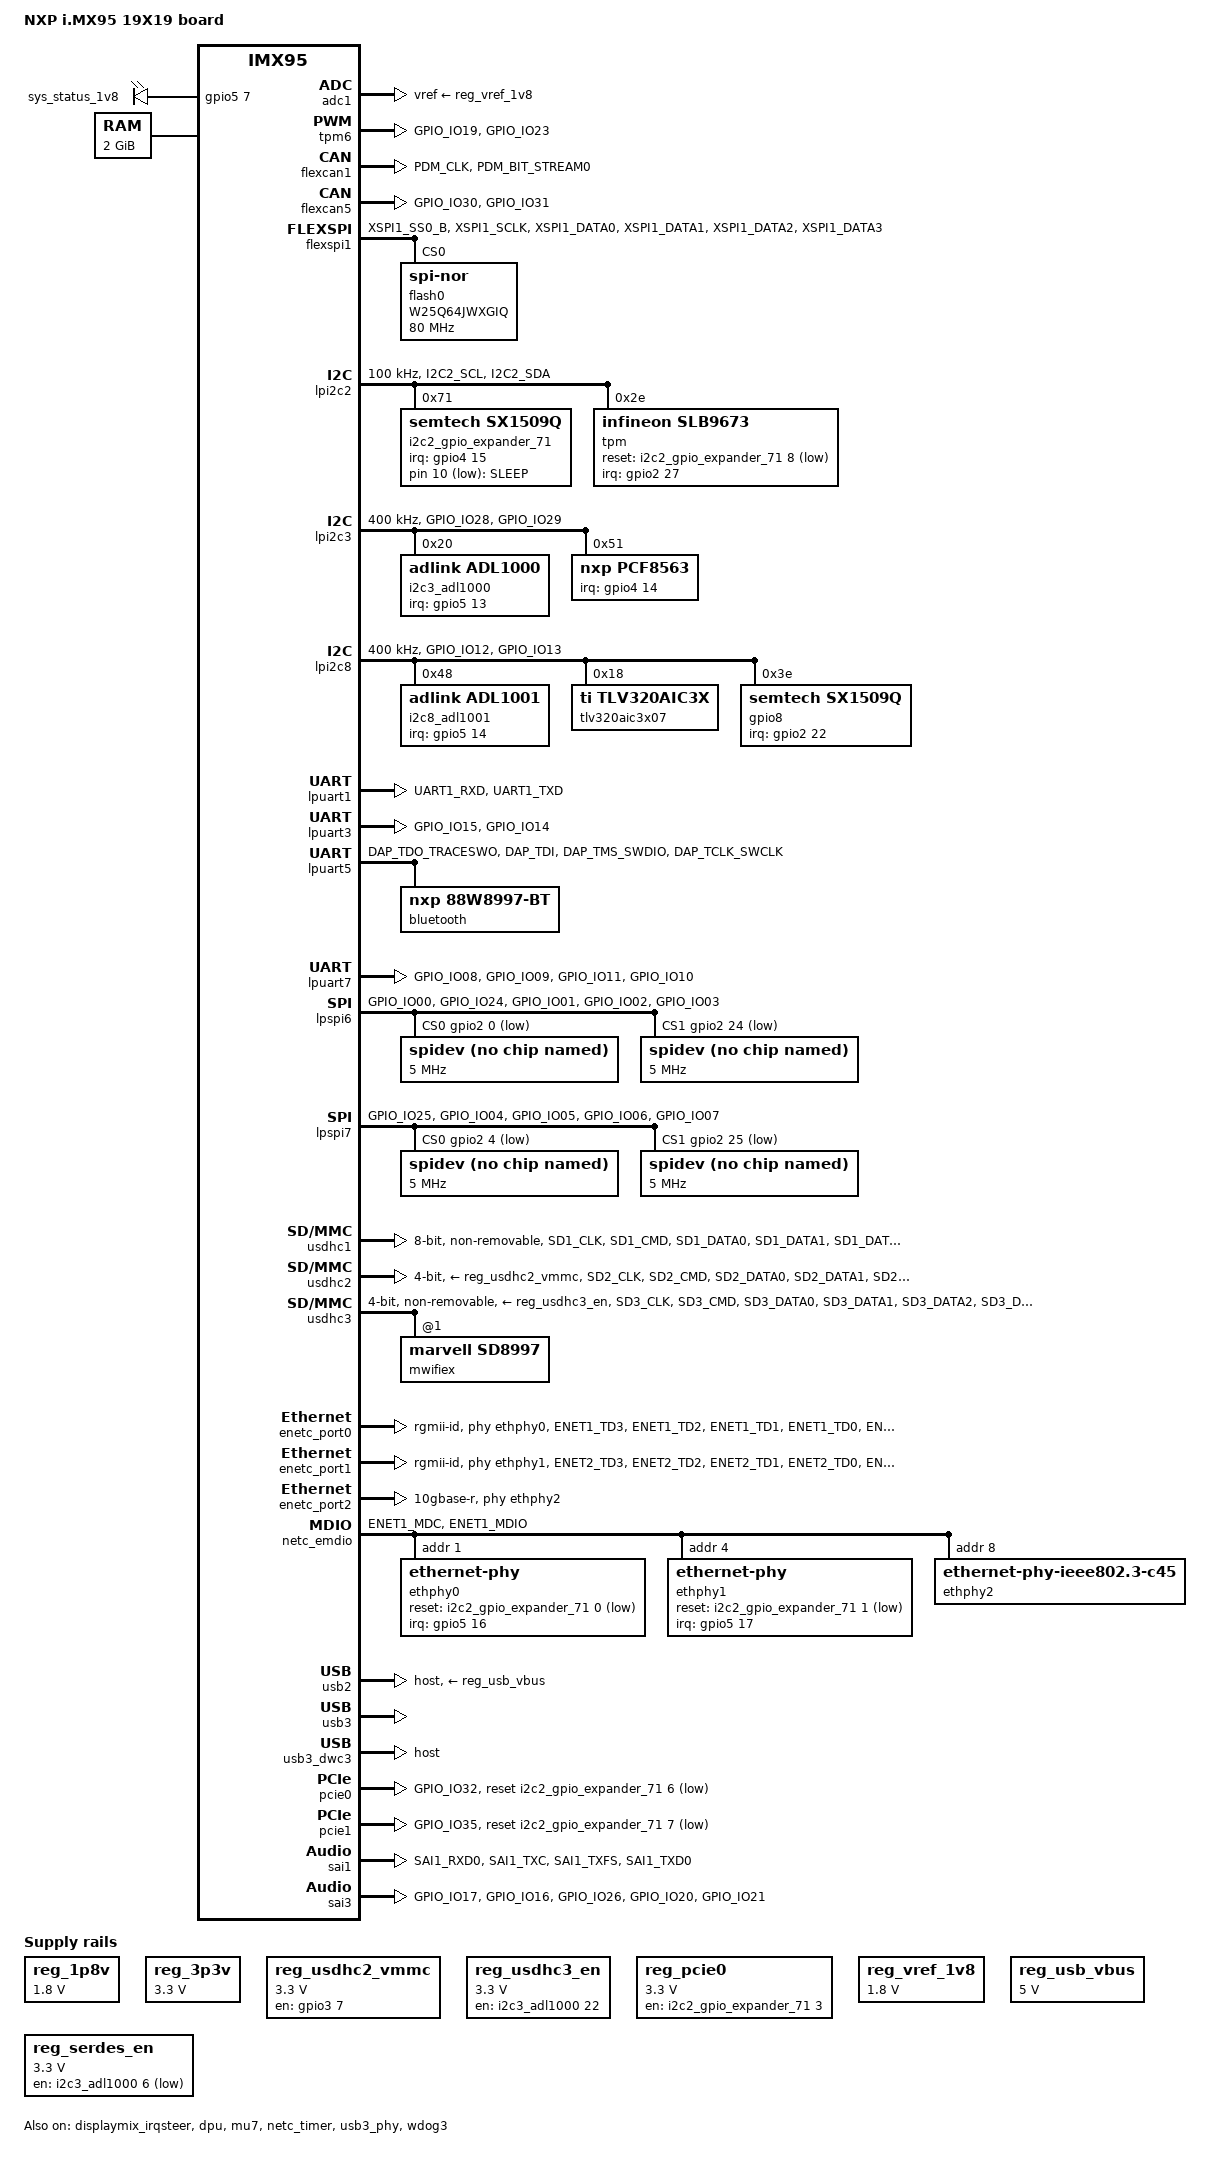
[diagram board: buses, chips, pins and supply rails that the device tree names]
// SPDX-License-Identifier: (GPL-2.0+ OR MIT)
/*
 * Copyright 2023 NXP
 */

/dts-v1/;

#include <dt-bindings/phy/phy-imx8-pcie.h>
#include <dt-bindings/pwm/pwm.h>
#include <dt-bindings/usb/pd.h>
#include "imx95.dtsi"

#define FALLING_EDGE		BIT(0)
#define RISING_EDGE		BIT(1)

#define BRD_SM_CTRL_SD3_WAKE		0x8000	/*!< PCAL6408A-0 */
#define BRD_SM_CTRL_PCIE1_WAKE		0x8001	/*!< PCAL6408A-4 */
#define BRD_SM_CTRL_BT_WAKE		0x8002	/*!< PCAL6408A-5 */
#define BRD_SM_CTRL_PCIE2_WAKE		0x8003	/*!< PCAL6408A-6 */
#define BRD_SM_CTRL_BUTTON		0x8004	/*!< PCAL6408A-7 */

/ {
	model = "NXP i.MX95 19X19 board";
	compatible = "fsl,imx95-19x19-evk", "fsl,imx95";

	aliases {
		ethernet0 = &enetc_port0;
		ethernet1 = &enetc_port1;
	};

	chosen {
		stdout-path = &lpuart1;
		#address-cells = <2>;
		#size-cells = <2>;
		/* will be updated by U-boot when booting Xen */
		module@0 {
			bootargs = "earlycon=xen console=hvc0 loglevel=8 root=/dev/mmcblk1p2 rw rootwait";
			compatible = "xen,linux-zimage", "xen,multiboot-module";
			reg = <0x00000000 0x9e000000 0x00000000 0x2000000>;
		};
	};

	gpio-keys {
		compatible = "gpio-keys";
		pinctrl-names = "default";

		key_sleep {
			label = "SLEEP";
			linux,code = <KEY_SLEEP>;
			gpios = <&i2c2_gpio_expander_71 10 GPIO_ACTIVE_LOW>;
		};

	};

	leds {
		compatible = "gpio-leds";
		pinctrl-names = "default";
		pinctrl-0 = <&pinctrl_leds>;

		led-1 {
			label = "sys_status_1v8";
			default-state = "on";
			gpios = <&gpio5 7 GPIO_ACTIVE_HIGH>;
		};

	};

	/*
	fan0: pwm-fan {
		compatible = "pwm-fan";
		cooling-min-state = <0>;
		cooling-max-state = <3>;
		#cooling-cells = <2>;
		pwms = <&tpm5 1 4000000 PWM_POLARITY_INVERTED>;
		cooling-levels = <64 128 192 255>;
	};
*/
	memory@80000000 {
		device_type = "memory";
		reg = <0x0 0x80000000 0 0x80000000>;
	};

	reserved-memory {
		#address-cells = <2>;
		#size-cells = <2>;
		ranges;

		linux_cma: linux,cma {
			compatible = "shared-dma-pool";
			reusable;
			size = <0 0x3c000000>;
			alloc-ranges = <0 0x80000000 0 0x7F000000>;
			linux,cma-default;
		};

		vpu_boot: vpu_boot@a0000000 {
			reg = <0 0xa0000000 0 0x100000>;
			no-map;
		};

		vdev0vring0: vdev0vring0@88000000 {
			reg = <0 0x88000000 0 0x8000>;
			no-map;
		};

		vdev0vring1: vdev0vring1@88008000 {
			reg = <0 0x88008000 0 0x8000>;
			no-map;
		};

		vdev1vring0: vdev1vring0@88010000 {
			reg = <0 0x88010000 0 0x8000>;
			no-map;
		};

		vdev1vring1: vdev1vring1@88018000 {
			reg = <0 0x88018000 0 0x8000>;
			no-map;
		};

		rsc_table: rsc-table@88220000 {
			reg = <0 0x88220000 0 0x1000>;
			no-map;
		};

		vdevbuffer: vdevbuffer@88020000 {
			compatible = "shared-dma-pool";
			reg = <0 0x88020000 0 0x100000>;
			no-map;
		};
	};

	reg_1p8v: regulator-1p8v {
		compatible = "regulator-fixed";
		regulator-max-microvolt = <1800000>;
		regulator-min-microvolt = <1800000>;
		regulator-name = "+V1.8_SW";
	};

	reg_3p3v: regulator-3p3v {
		compatible = "regulator-fixed";
		regulator-max-microvolt = <3300000>;
		regulator-min-microvolt = <3300000>;
		regulator-name = "+V3.3_SW";
	};

	reg_usdhc2_vmmc: regulator-usdhc2 {
		compatible = "regulator-fixed";
		pinctrl-names = "default";
		pinctrl-0 = <&pinctrl_reg_usdhc2_vmmc>;
		regulator-name = "VDD_SD2_3V3";
		regulator-min-microvolt = <3300000>;
		regulator-max-microvolt = <3300000>;
		gpio = <&gpio3 7 GPIO_ACTIVE_HIGH>;
		off-on-delay-us = <12000>;
		enable-active-high;
	};

	reg_usdhc3_en: regulator-usdhc3-en {
		compatible = "regulator-fixed";
		regulator-name = "usdhc3-en";
		regulator-min-microvolt = <3300000>;
		regulator-max-microvolt = <3300000>;
		gpio = <&i2c3_adl1000 22 GPIO_ACTIVE_HIGH>;
		enable-active-high;
	};

	reg_pcie0: regulator-pcie {
		compatible = "regulator-fixed";
		regulator-name = "PCIE_WLAN_EN";
		regulator-min-microvolt = <3300000>;
		regulator-max-microvolt = <3300000>;
		gpio = <&i2c2_gpio_expander_71 3 GPIO_ACTIVE_HIGH>; //RC210_EN_3V
		enable-active-high;
		regulator-always-on;
	};

	reg_vref_1v8: regulator-adc-vref {
		compatible = "regulator-fixed";
		regulator-name = "vref_1v8";
		regulator-min-microvolt = <1800000>;
		regulator-max-microvolt = <1800000>;
	};

	reg_usb_vbus: regulator-vbus {
		compatible = "regulator-fixed";
		regulator-name = "USB_VBUS";
		regulator-min-microvolt = <5000000>;
		regulator-max-microvolt = <5000000>;
		/*
		gpio = <&i2c7_pcal6524 3 GPIO_ACTIVE_HIGH>;
		enable-active-high;
		regulator-always-on;
		*/
	};

	reg_serdes_en: regulator-mac-en {
		compatible = "regulator-fixed";
		regulator-name = "mac-en";
		regulator-min-microvolt = <3300000>;
		regulator-max-microvolt = <3300000>;
		//vin-supply = <&reg_serdes_stby>;
		gpio = <&i2c3_adl1000 6 GPIO_ACTIVE_HIGH>;//ETH_CLK_EN_1V8 
	};

	cm7: imx95-cm7 {
		compatible = "fsl,imx95-cm7";
		mbox-names = "tx", "rx", "rxdb";
		mboxes = <&mu7 0 1
			  &mu7 1 1
			  &mu7 3 1>;
		memory-region = <&vdevbuffer>, <&vdev0vring0>, <&vdev0vring1>,
				<&vdev1vring0>, <&vdev1vring1>, <&rsc_table>;
		fsl,startup-delay-ms = <50>;
		status = "okay";
	};

	/* SMARC BB CN1701 */
	sound-tlv320aic3x {
		compatible = "simple-audio-card";
		simple-audio-card,name = "tlv320aic3x";

		simple-audio-card,widgets =
			"Microphone", "Microphone Jack",
			"Headphone", "Headphone Jack";
		simple-audio-card,routing =
			"MIC3L", "Microphone Jack",
			"MIC3R", "Microphone Jack",
			"Headphone Jack", "HPLOUT",
			"Headphone Jack", "HPROUT";

		simple-audio-card,format = "i2s";
		simple-audio-card,bitclock-master = <&sound_master>;
		simple-audio-card,frame-master = <&sound_master>;

		simple-audio-card,cpu {
			sound-dai = <&sai3>;
		};

		sound_master: simple-audio-card,codec {
			sound-dai = <&tlv320aic3x07>;
		};
	};

};

&adc1 {
	vref-supply = <&reg_vref_1v8>;
	status = "okay";
};

&displaymix_irqsteer {
	status = "okay";
};

&dpu {
	status = "okay";
};

/*
&tpm5 {
	pinctrl-names = "default";
	pinctrl-0 = <&pinctrl_tpm5>;
	pwm-rst;
	status = "okay";
};
*/
&tpm6 {
	pinctrl-names = "default";
	pinctrl-0 = <&pinctrl_tpm6>;
	pwm-rst;
	status = "okay";
};

/* pin conflict with PDM */
&flexcan1 {
	pinctrl-names = "default";
	pinctrl-0 = <&pinctrl_flexcan1>;
	/*xceiver-supply = <&reg_can1_stby>;*/
	status = "okay";
};

&flexcan5 {
	pinctrl-names = "default";
	pinctrl-0 = <&pinctrl_flexcan5>;
	status = "okay";
};

&flexspi1 {
	pinctrl-names = "default", "sleep";
	pinctrl-0 = <&pinctrl_flexspi1>;
	pinctrl-1 = <&pinctrl_flexspi1>;
	status = "okay";

	/*U2200 W25Q64JWXGIQ*/
	flash0: W25Q64JWXGIQ@0 {
		reg = <0>;
		#address-cells = <1>;
		#size-cells = <1>;
		compatible = "jedec,spi-nor";
		spi-max-frequency = <80000000>;
		spi-tx-bus-width = <4>;
		spi-rx-bus-width = <4>;
	};
};

&lpi2c2 {
	#address-cells = <1>;
	#size-cells = <0>;
	clock-frequency = <100000>;
	pinctrl-names = "default", "sleep";
	pinctrl-0 = <&pinctrl_lpi2c2>;
	pinctrl-1 = <&pinctrl_lpi2c2>;
	status = "okay";

	/*U1000 SX1509BIULTRT_SEMTECH */
	i2c2_gpio_expander_71: i2c2_gpio_expander_71@71 {
		/* GPIO Expander  Mapping :
		 * - 0: ENET1_RST_B_3V			=>			U2001
		 * - 1: ENET2_RST_B_3V			=>			U2101			
		 * - 2: USB_HUB_RST#_3V			=>			U1800			
		 * - 3: RC210_EN_3V			=>			U1300 ,RC21008B001GND
		 * - 4: LT9611_RSTN_3V			=>			U1500
		 * - 5: HDMI_INT_3V				<= 			U1500
		 * - 6: PCIEA_RST#_3V			=>			SMARC P75	
		 * - 7: PCIEB_RST#_3V			=>			SMARC S76			
		 * - 8: TPM_RST_N_1V8			=> 			U2400
		 * - 9: LID#_1V8				<= R1005	SMARC S148
		 * - 10: SLEEP#_1V8				<= R1010	SMARC S149
		 * - 11: CHARGING#_1V8			<= R1007	SMARC S151
		 * - 12: CHARGER_PRSNT#_1V8		<= R1011	SMARC S152
		 * - 13: BATLOW#_1V8			<= R1014	SMARC S156
		 * - 14: TEST#_1V8				<= R1015	SMARC S157
		 * - 15: DSI0_TE_1V8    		<= R1087	SMARC S144
		 */
		#gpio-cells = <2>;
		#interrupt-cells = <2>;
		compatible = "semtech,sx1509q";
		reg = <0x71>;

		semtech,probe-reset;
		gpio-controller;
		interrupt-controller;
		interrupt-parent = <&gpio4>;
		interrupts = <15 IRQ_TYPE_LEVEL_LOW>;
		pinctrl-names = "default";
		pinctrl-0 = <&pinctrl_sx1509q>;

		status = "okay";
	};
	/* U2400 TPM - ST33HTPH2X32AHD5_ST */
	st33tphf2xi2c@2e {
		#gpio-cells = <2>;
		#interrupt-cells = <2>;
		//compatible = "st,st33htpm-i2c";
		compatible = "infineon,slb9673";
		reg = <0x2e>;

		label = "tpm";
		pinctrl-names = "default";
		pinctrl-0 = <&pinctrl_i2c2_tpm>;
		interrupt-parent = <&gpio2>;
		interrupts = <27 IRQ_TYPE_LEVEL_LOW>;
		reset-gpio = <&i2c2_gpio_expander_71 8 GPIO_ACTIVE_LOW>;
		status = "okay";
	};
};

&lpi2c3 {
	#address-cells = <1>;
	#size-cells = <0>;
	clock-frequency = <400000>;
	pinctrl-names = "default", "sleep";
	pinctrl-0 = <&pinctrl_lpi2c3>;
	pinctrl-1 = <&pinctrl_lpi2c3>;
	status = "okay";

	/*U1001 ADLINK MCU GPIO */
	i2c3_adl1000: i2c3_adl1000@20 {
		compatible = "adlink,adl1000";
		pinctrl-names = "default";
		//interrupt pin A3, A4, B0, B1, B2, B5, B6, B10, B11, B12, B13, B14, B15
		//INT : PC2 , SCL : PB8 , SDA : PB9
		/* GPIO Expander  Mapping :
		 * - 0: PA0 		LCD1_VDD_EN_1V8			=>			SMARC S116 LCD1_VDD_EN
		 * - 1: PA1 		LCD1_BKLT_EN_1V8		=>			SMARC S107 LCD1_BKLT_EN
		 * - 2: PA3(int)	CN_GPIO13_1V8			=>			SMARC S123 GPIO13
		 * - 3: PA4(int) 	CN_GPIO12_1V8			=>			SMARC S142 GPIO12
		 * - 4: PA5 		Detect_SYS_1V8			<=			R1040 VDD_1V8_S
		 * - 5: PA6 		MCU_PWRBTN_ON_1V8		=>			R2812 U2802(AND gate) PMIC_ON_MCU_1V8
		 * - 6: PA7 		ETH_CLK_EN_1V8			=>			U1300 RC21008B001GND#BB0_RENESAS GPIO4
		 * - 7: PA10 		ONOFF_1V8	    		=> 			U600 (IMX95)

		 * - 8: PA11 		LCD0_VDD_EN_1V8	    	=> 			SMARC S133 LCD0_VDD_EN
		 * - 9: PA12 		LCD0_BKLT_EN_1V8		=>			SMARC S127 LCD0_BKLT_EN
		 * - 10: PB0(int) 	CN_GPIO0_CAM0_PWR#_1V8			=>	SMARC P108 CAM0_PWR
		 * - 11: PB1(int) 	CN_GPIO1_CAM1_PWR#_1V8			=> 	SMARC P109 CAM1_PWR
		 * - 12: PB2(int) 	CN_GPIO2_CAM0_RST#_1V8			=> 	SMARC P110 CAM0_RST
		 * - 13: PB5(int) 	CN_GPIO3_CAM1_RST#_1V8			=>  SMARC P111 CAM1_RST
		 * - 14: PB6(int) 	CN_GPIO4_1V8			=> 			SMARC P112 GPIO4
		 * - 15: PB10(int) 	CN_GPIO11_1V8			=>			SMARC P119 GPIO11

		 * - 16: PB11(int) 	CN_GPIO6_1V8			=>			SMARC P114 GPIO6
		 * - 17: PB12(int) 	CN_GPIO7_1V8			=>			SMARC P115 GPIO7
		 * - 18: PB13(int) 	CN_GPIO8_1V8			=> 			SMARC P116 GPIO8
		 * - 19: PB14(int) 	CN_GPIO9_1V8    		=>			SMARC P117 GPIO9
		 * - 20: PB15(int) 	CN_GPIO10_1V8			=>			SMARC P118 GPIO10
		 * - 21: PC3 		HOST_WAKE_BT_IN#_1V8	=>			U1900 AW-CM276NF pull-up
		 * - 22: PC4 		WL_PWR_DOWN#_1V8		=>			U1900 AW-CM276NF pull-up
		 * - 23: PC5 		HOST_WAKE_WL_IN_1V8		=>			U1900 AW-CM276NF pull-down
		 */
		pinctrl-0 = <&pinctrl_i2c3_adl1000>;
		reg = <0x20>;
		gpio-controller;
		#gpio-cells = <2>;
		interrupt-controller;
		#interrupt-cells = <2>;
		interrupt-parent = <&gpio5>;
		interrupts = <13 IRQ_TYPE_EDGE_FALLING>; // MCU_INTB1_1V8 , PC2

	};
	/*U2401 RTC PCF8563BS/4_NXP */
	pcf8563: rtc@51 {
		compatible = "nxp,pcf8563";
		pinctrl-names = "default";
		pinctrl-0 = <&pinctrl_i2c3_rtc>;
		reg = <0x51>;
		#clock-cells = <0>;
		interrupt-parent = <&gpio4>;
		interrupts = <14 IRQ_TYPE_LEVEL_LOW>;
	};
};

&lpi2c8 {
	#address-cells = <1>;
	#size-cells = <0>;
	clock-frequency = <400000>;
	pinctrl-names = "default", "sleep";
	pinctrl-0 = <&pinctrl_lpi2c8>;
	pinctrl-1 = <&pinctrl_lpi2c8>;
	status = "okay";

	/*U1001 ADLINK MCU UART */
	i2c8_adl1001: i2c8_adl1001@48 {
		compatible = "adlink,adl1001";
		pinctrl-names = "default";
		
		pinctrl-0 = <&pinctrl_i2c8_adl1001>;
		reg = <0x48>;
		interrupt-parent = <&gpio5>;
		interrupts = <14 IRQ_TYPE_EDGE_FALLING>; //MCU_INTB2_1V8 , PD2
	};
	/* SMARC BB CN1701 */
    tlv320aic3x07: tlv320aic310x@18 {
		clock-names = "mclk";
		clocks = <&scmi_clk IMX95_CLK_SAI3>;
		compatible = "ti,tlv320aic3x";
		#sound-dai-cells = <0>;
		reg = <0x18>;
		ai3x-micbias-vg = <2>; /* MICBIAS_2_5V */
		status = "okay";
        };

	/* SX1509(2) U1001@IPi SMARC Plus */
	gpio8: i2c2_gpioext0@3e {
		/* GPIO Expander 2 Mapping :
		 * - 0: E_GPIO1_0	<=>					IPi SMARC Plus CN101_PIN29: E_GPIO1_0
		 * - 1: E_GPIO1_1	<=>					IPi SMARC Plus CN101_PIN31: E_GPIO1_1
		 * - 2: E_GPIO1_2	<=>					IPi SMARC Plus CN101_PIN32: E_GPIO1_2
		 * - 3: E_GPIO1_3	<=>					IPi SMARC Plus CN101_PIN33: E_GPIO1_3
		 * - 4: E_GPIO1_4	<=>					IPi SMARC Plus CN101_PIN35: E_GPIO1_4
		 * - 5: E_GPIO1_5	<=>					IPi SMARC Plus CN101_PIN36: E_GPIO1_5
		 * - 6: E_GPIO1_6	<=>					IPi SMARC Plus CN101_PIN37: E_GPIO1_6
		 * - 7: E_GPIO1_7	<=>					IPi SMARC Plus CN101_PIN38: E_GPIO1_7
		 * - 8: E_GPIO2_8	<=>					IPi SMARC Plus CN101_PIN40: E_GPIO2_8
		 * - 9: TP1002		<=>					IPi SMARC Plus TP1002 (won't use)
		 * - 10: TP1003		<=>					IPi SMARC Plus TP1003 (won't use)
		 * - 11: TP1004		<=>					IPi SMARC Plus TP1004 (won't use)
		 * - 12: TP1005		<=>					IPi SMARC Plus TP1005 (won't use)
		 * - 13: TP1006		<=>					IPi SMARC Plus TP1006 (won't use)
		 * - 14: TP1007		<=>					IPi SMARC Plus TP1007 (won't use)
		 * - 15: TP1008		<=>					IPi SMARC Plus TP1008 (won't use)
		 * - 16: OSCIO		<=>					IPi SMARC Plus TP1001 (won't use)
		 */
		#gpio-cells = <2>;
		#interrupt-cells = <2>;
		compatible = "semtech,sx1509q";
		reg = <0x3e>;
		pinctrl-names = "default";
		pinctrl-0 = <&pinctrl_gpio8_int>;

		semtech,probe-reset;
		gpio-controller;
		interrupt-controller;

		interrupt-parent = <&gpio2>;
		interrupts = <22 IRQ_TYPE_EDGE_FALLING>;
	};
};

&lpuart1 {
	/* console */
	pinctrl-names = "default";
	pinctrl-0 = <&pinctrl_uart1>;
	status = "okay";
};

&lpuart3 {
	pinctrl-names = "default";
	pinctrl-0 = <&pinctrl_uart3>;
	status = "okay";
};

/*U1900 AW-CM276NF*/
&lpuart5 {
	/* BT */
	pinctrl-names = "default";
	pinctrl-0 = <&pinctrl_uart5>;
	status = "okay";

	bluetooth {
		compatible = "nxp,88w8997-bt";
	};
};
//SMARC SER0
&lpuart7 {
	pinctrl-names = "default";
	pinctrl-0 = <&pinctrl_uart7>;
	status = "okay";
};
//SMARC SPI0
&lpspi6 {
	fsl,spi-num-chipselects = <2>;
	pinctrl-names = "default", "sleep";
	pinctrl-0 = <&pinctrl_lpspi6>;
	pinctrl-1 = <&pinctrl_lpspi6>;
	cs-gpios = <&gpio2 0 GPIO_ACTIVE_LOW>,<&gpio2 24 GPIO_ACTIVE_LOW>;
	status = "okay";
        spidev@0 {
                compatible = "rohm,dh2228fv";
                spi-max-frequency = <5000000>;
                reg = <0>;
        };
        spidev@1 {
                compatible = "rohm,dh2228fv";
                spi-max-frequency = <5000000>;
                reg = <1>;
	};

};
//SMARC SPI1
&lpspi7 {
	fsl,spi-num-chipselects = <2>;
	pinctrl-names = "default", "sleep";
	pinctrl-0 = <&pinctrl_lpspi7>;
	pinctrl-1 = <&pinctrl_lpspi7>;
	cs-gpios = <&gpio2 4 GPIO_ACTIVE_LOW>,<&gpio2 25 GPIO_ACTIVE_LOW>;
	status = "okay";
    
	spidev@0 {
                compatible = "rohm,dh2228fv";
                spi-max-frequency = <5000000>;
                reg = <0>;
        };
        
	spidev@1 {
                compatible = "rohm,dh2228fv";
                spi-max-frequency = <5000000>;
                reg = <1>;
	};
};

&mu7 {
	status = "okay";
};
//U1200 PTE7AAMI-64GI EMMC
&usdhc1 {
	pinctrl-names = "default", "state_100mhz", "state_200mhz", "sleep";
	pinctrl-0 = <&pinctrl_usdhc1>;
	pinctrl-1 = <&pinctrl_usdhc1_100mhz>;
	pinctrl-2 = <&pinctrl_usdhc1_200mhz>;
	pinctrl-3 = <&pinctrl_usdhc1>;
	bus-width = <8>;
	non-removable;
	no-sdio;
	no-sd;
	status = "okay";
};
//SMARC SDIO
&usdhc2 {
	pinctrl-names = "default", "state_100mhz", "state_200mhz", "sleep";
	pinctrl-0 = <&pinctrl_usdhc2>, <&pinctrl_usdhc2_gpio>;
	pinctrl-1 = <&pinctrl_usdhc2_100mhz>, <&pinctrl_usdhc2_gpio>;
	pinctrl-2 = <&pinctrl_usdhc2_200mhz>, <&pinctrl_usdhc2_gpio>;
	pinctrl-3 = <&pinctrl_usdhc2>, <&pinctrl_usdhc2_gpio>;
	cd-gpios = <&gpio3 00 GPIO_ACTIVE_LOW>;
	//wp-gpios = <&gpio5 8 GPIO_ACTIVE_HIGH>; //need to remove if want to test on EVK
	vmmc-supply = <&reg_usdhc2_vmmc>;
	bus-width = <4>;
	status = "okay";
};

/*U1900 AW-CM276NF*/
&usdhc3 {
	#address-cells = <1>;
	#size-cells = <0>;
	pinctrl-names = "default", "state_100mhz", "state_200mhz", "sleep";
	pinctrl-0 = <&pinctrl_usdhc3>;
	pinctrl-1 = <&pinctrl_usdhc3>;
	pinctrl-2 = <&pinctrl_usdhc3_200mhz>;
	pinctrl-3 = <&pinctrl_usdhc3>;
	keep-power-in-suspend;
	wakeup-source;

	vmmc-supply = <&reg_usdhc3_en>;
	bus-width = <4>;
	non-removable;
	status = "okay";


	mwifiex: wifi@1 {
		compatible = "marvell,sd8997";
		reg = <1>;

		marvell,caldata_00_txpwrlimit_2g_cfg_set = /bits/ 8 <
			 0x01 0x00 0x06 0x00 0x08 0x02 0x89 0x01>;
		marvell,wakeup-pin = <14>;
	};
};
/*U2001 RTL8211FI-CG_REALTEK*/
&enetc_port0 {
	pinctrl-names = "default";
	pinctrl-0 = <&pinctrl_enetc0>,<&pinctrl_ethphy0>;
	phy-handle = <&ethphy0>;
	phy-mode = "rgmii-id";
	status = "okay";
};
/*U2101 RTL8211FI-CG_REALTEK*/
&enetc_port1 {
	pinctrl-names = "default";
	pinctrl-0 = <&pinctrl_enetc1>,<&pinctrl_ethphy1>;
	phy-handle = <&ethphy1>;
	phy-mode = "rgmii-id";
	status = "okay";
};
//SMARC
&enetc_port2 {
	phy-handle = <&ethphy2>;
	phy-mode = "10gbase-r";
	serdes-supply = <&reg_serdes_en>;
	managed = "in-band-status";
	//status = "okay";
};

&netc_timer {
	status = "okay";
};

&netc_prb_ierb {
	netc-interfaces = <NXP_NETC_RGMII
			   NXP_NETC_RGMII
			   NXP_NETC_SERIAL>;
};

&netc_emdio {	
	pinctrl-names = "default";
	pinctrl-0 = <&pinctrl_emdio>;
	status = "okay";

	/*U2001 RTL8211FI-CG_REALTEK*/
	ethphy0: ethernet-phy@1 {
		reg = <1>;
		eee-broken-1000t;
		
		reset-gpios = <&i2c2_gpio_expander_71 0 GPIO_ACTIVE_LOW>;
		reset-assert-us = <10000>;
		reset-deassert-us = <80000>;
		interrupt-parent = <&gpio5>;
		interrupts = <16 IRQ_TYPE_EDGE_FALLING>;

		realtek,clkout-disable;
	};
	/*U2101 RTL8211FI-CG_REALTEK*/
	ethphy1: ethernet-phy@4 {
		reg = <4>;
		eee-broken-1000t;
		
		reset-gpios = <&i2c2_gpio_expander_71 1 GPIO_ACTIVE_LOW>;
		reset-assert-us = <10000>;
		reset-deassert-us = <80000>;
		interrupt-parent = <&gpio5>;
		interrupts = <17 IRQ_TYPE_EDGE_FALLING>;

		realtek,clkout-disable;
	};
//SMARC
	ethphy2: ethernet-phy@8 {
		compatible = "ethernet-phy-ieee802.3-c45";
		reg = <8>;
	};
	
};
//4c200000 USB2 controller
&usb2 {
	dr_mode = "host";
	vbus-supply = <&reg_usb_vbus>;
	disable-over-current;
	status = "okay";
};

&thermal_zones {
	a55 {
		trips {
			atrip2: trip2 {
				temperature = <55000>;
				hysteresis = <2000>;
				type = "active";
			};

			atrip3: trip3 {
				temperature = <65000>;
				hysteresis = <2000>;
				type = "active";
			};

			atrip4: trip4 {
				temperature = <75000>;
				hysteresis = <2000>;
				type = "active";
			};
		};

		cooling-maps {
			map1 {
				trip = <&atrip2>;
				//cooling-device = <&fan0 0 1>;
			};

			map2 {
				trip = <&atrip3>;
				//cooling-device = <&fan0 1 2>;
			};

			map3 {
				trip = <&atrip4>;
				//cooling-device = <&fan0 2 3>;
			};
		};
	};

	pf09 {
		polling-delay-passive = <250>;
		polling-delay = <2000>;
		thermal-sensors = <&scmi_sensor 2>;
		trips {
			pf09_alert: trip0 {
				temperature = <140000>;
				hysteresis = <2000>;
				type = "passive";
			};

			pf09_crit: trip1 {
				temperature = <155000>;
				hysteresis = <2000>;
				type = "critical";
			};
		};
	};

	pf53_arm {
		polling-delay-passive = <250>;
		polling-delay = <2000>;
		thermal-sensors = <&scmi_sensor 4>;
		trips {
			pf5301_alert: trip0 {
				temperature = <140000>;
				hysteresis = <2000>;
				type = "passive";
			};

			pf5301_crit: trip1 {
				temperature = <155000>;
				hysteresis = <2000>;
				type = "critical";
			};
		};

		cooling-maps {
			map0 {
				trip = <&pf5301_alert>;
				cooling-device =
					<&A55_0 THERMAL_NO_LIMIT THERMAL_NO_LIMIT>,
					<&A55_1 THERMAL_NO_LIMIT THERMAL_NO_LIMIT>,
					<&A55_2 THERMAL_NO_LIMIT THERMAL_NO_LIMIT>,
					<&A55_3 THERMAL_NO_LIMIT THERMAL_NO_LIMIT>,
					<&A55_4 THERMAL_NO_LIMIT THERMAL_NO_LIMIT>,
					<&A55_5 THERMAL_NO_LIMIT THERMAL_NO_LIMIT>;
			};
		};
	};

	pf53_soc {
		polling-delay-passive = <250>;
		polling-delay = <2000>;
		thermal-sensors = <&scmi_sensor 3>;
		trips {
			pf5302_alert: trip0 {
				temperature = <140000>;
				hysteresis = <2000>;
				type = "passive";
			};

			pf5302_crit: trip1 {
				temperature = <155000>;
				hysteresis = <2000>;
				type = "critical";
			};
		};
	};
};
//4c010010
&usb3 {
	status = "okay";
};
//4c1f0040
&usb3_phy {
	status = "okay";
};
//4c100000 USB1 controller
&usb3_dwc3 {
	dr_mode = "host";//this causes USB can't work , need to check
	hnp-disable;
	srp-disable;
	adp-disable;
	usb-role-switch;
	role-switch-default-mode = "none";
	snps,dis-u1-entry-quirk;
	snps,dis-u2-entry-quirk;
	status = "okay";
};

&scmi_misc {
	wakeup-sources = <BRD_SM_CTRL_SD3_WAKE		1
			  BRD_SM_CTRL_PCIE1_WAKE	1
			  BRD_SM_CTRL_BT_WAKE		1
			  BRD_SM_CTRL_PCIE2_WAKE	1
			  BRD_SM_CTRL_BUTTON		1>;
};

&scmi_iomuxc {

	pinctrl_gpio8_int: gpio8grp {
		fsl,pins = <
			IMX95_PAD_GPIO_IO22__GPIO2_IO_BIT22			0x1fe	//not pull down,not pull up ,Fast slew rate, drive X6
		>;
	};
	pinctrl_tpm6: tpm6grp {
		fsl,pins = <
			IMX95_PAD_GPIO_IO19__TPM6_CH2			0x51e
			IMX95_PAD_GPIO_IO23__TPM6_CH1			0x51e
		>;
	};

	pinctrl_flexcan1: flexcan1grp {
		fsl,pins = <
			IMX95_PAD_PDM_CLK__AONMIX_TOP_CAN1_TX		0x39e
			IMX95_PAD_PDM_BIT_STREAM0__AONMIX_TOP_CAN1_RX	0x39e
		>;
	};

	pinctrl_flexcan5: flexcan5grp {
		fsl,pins = <
			IMX95_PAD_GPIO_IO30__CAN5_TX			0x39e
			IMX95_PAD_GPIO_IO31__CAN5_RX			0x39e
		>;
	};

	pinctrl_lpi2c2: lpi2c2grp {
		fsl,pins = <
			IMX95_PAD_I2C2_SCL__AONMIX_TOP_LPI2C2_SCL	0x40000b9e
			IMX95_PAD_I2C2_SDA__AONMIX_TOP_LPI2C2_SDA	0x40000b9e
		>;
	};

	pinctrl_lpi2c3: lpi2c3grp {
		fsl,pins = <
			IMX95_PAD_GPIO_IO28__LPI2C3_SDA			0x40000b9e
			IMX95_PAD_GPIO_IO29__LPI2C3_SCL			0x40000b9e
		>;
	};

	pinctrl_lpi2c8: lpi2c8grp {
		fsl,pins = <
			IMX95_PAD_GPIO_IO12__LPI2C8_SDA			0x40000b9e
			IMX95_PAD_GPIO_IO13__LPI2C8_SCL 		0x40000b9e
		>;
	};

	pinctrl_uart1: uart1grp {
		fsl,pins = <
			IMX95_PAD_UART1_RXD__AONMIX_TOP_LPUART1_RX      0x31e
			IMX95_PAD_UART1_TXD__AONMIX_TOP_LPUART1_TX      0x31e
		>;
	};

	pinctrl_uart3: uart3grp {
		fsl,pins = <
			IMX95_PAD_GPIO_IO15__LPUART3_RX      0x31e
			IMX95_PAD_GPIO_IO14__LPUART3_TX      0x31e
		>;
	};

	pinctrl_uart5: uart5grp {
		fsl,pins = <
			IMX95_PAD_DAP_TDO_TRACESWO__LPUART5_TX			0x31e
			IMX95_PAD_DAP_TDI__LPUART5_RX				0x31e
			IMX95_PAD_DAP_TMS_SWDIO__LPUART5_RTS_B			0x31e
			IMX95_PAD_DAP_TCLK_SWCLK__LPUART5_CTS_B			0x31e
		>;
	};

	pinctrl_uart7: uart7grp {
		fsl,pins = <
			IMX95_PAD_GPIO_IO08__LPUART7_TX			0x31e
			IMX95_PAD_GPIO_IO09__LPUART7_RX				0x31e
			IMX95_PAD_GPIO_IO11__LPUART7_RTS_B			0x31e
			IMX95_PAD_GPIO_IO10__LPUART7_CTS_B			0x31e
		>;
	};

	pinctrl_pcie0: pcie0grp {
		fsl,pins = <
			IMX95_PAD_GPIO_IO32__HSIOMIX_TOP_PCIE1_CLKREQ_B		0x40000b1e
		>;
	};

	pinctrl_pcie1: pcie1grp {
		fsl,pins = <
			IMX95_PAD_GPIO_IO35__HSIOMIX_TOP_PCIE2_CLKREQ_B		0x40000b1e
		>;
	};

	pinctrl_lpspi6: lpspi6grp {
		fsl,pins = <
			IMX95_PAD_GPIO_IO00__GPIO2_IO_BIT0	0x1fe	//not pull down,not pull up ,Fast slew rate, drive X6
			IMX95_PAD_GPIO_IO24__GPIO2_IO_BIT24	0x1fe	//not pull down,not pull up ,Fast slew rate, drive X6
			IMX95_PAD_GPIO_IO01__LPSPI6_SIN		0x3fe
			IMX95_PAD_GPIO_IO02__LPSPI6_SOUT	0x3fe
			IMX95_PAD_GPIO_IO03__LPSPI6_SCK		0x3fe
		>;
	};
	pinctrl_lpspi7: lpspi7grp {
		fsl,pins = <
			IMX95_PAD_GPIO_IO25__GPIO2_IO_BIT25	0x1fe	//not pull down,not pull up ,Fast slew rate, drive X6
			IMX95_PAD_GPIO_IO04__GPIO2_IO_BIT4	0x1fe	//not pull down,not pull up ,Fast slew rate, drive X6
			IMX95_PAD_GPIO_IO05__LPSPI7_SIN		0x3fe
			IMX95_PAD_GPIO_IO06__LPSPI7_SOUT	0x3fe
			IMX95_PAD_GPIO_IO07__LPSPI7_SCK		0x3fe
		>;
	};

	pinctrl_emdio: emdiogrp{
		fsl,pins = <
			IMX95_PAD_ENET1_MDC__NETCMIX_TOP_NETC_MDC		0x57e
			IMX95_PAD_ENET1_MDIO__NETCMIX_TOP_NETC_MDIO		0x97e
		>;
	};


	pinctrl_enetc0: enetc0grp {
		fsl,pins = <
			IMX95_PAD_ENET1_TD3__NETCMIX_TOP_ETH0_RGMII_TD3		0x57e
			IMX95_PAD_ENET1_TD2__NETCMIX_TOP_ETH0_RGMII_TD2		0x57e
			IMX95_PAD_ENET1_TD1__NETCMIX_TOP_ETH0_RGMII_TD1		0x57e
			IMX95_PAD_ENET1_TD0__NETCMIX_TOP_ETH0_RGMII_TD0		0x57e
			IMX95_PAD_ENET1_TX_CTL__NETCMIX_TOP_ETH0_RGMII_TX_CTL	0x57e
			IMX95_PAD_ENET1_TXC__NETCMIX_TOP_ETH0_RGMII_TX_CLK	0x58e
			IMX95_PAD_ENET1_RX_CTL__NETCMIX_TOP_ETH0_RGMII_RX_CTL	0x57e
			IMX95_PAD_ENET1_RXC__NETCMIX_TOP_ETH0_RGMII_RX_CLK	0x58e
			IMX95_PAD_ENET1_RD0__NETCMIX_TOP_ETH0_RGMII_RD0		0x57e
			IMX95_PAD_ENET1_RD1__NETCMIX_TOP_ETH0_RGMII_RD1		0x57e
			IMX95_PAD_ENET1_RD2__NETCMIX_TOP_ETH0_RGMII_RD2		0x57e
			IMX95_PAD_ENET1_RD3__NETCMIX_TOP_ETH0_RGMII_RD3		0x57e
		>;
	};

	pinctrl_enetc1: enetc1grp {
		fsl,pins = <
			IMX95_PAD_ENET2_TD3__NETCMIX_TOP_ETH1_RGMII_TD3		0x57e
			IMX95_PAD_ENET2_TD2__NETCMIX_TOP_ETH1_RGMII_TD2		0x57e
			IMX95_PAD_ENET2_TD1__NETCMIX_TOP_ETH1_RGMII_TD1		0x57e
			IMX95_PAD_ENET2_TD0__NETCMIX_TOP_ETH1_RGMII_TD0		0x57e
			IMX95_PAD_ENET2_TX_CTL__NETCMIX_TOP_ETH1_RGMII_TX_CTL	0x57e
			IMX95_PAD_ENET2_TXC__NETCMIX_TOP_ETH1_RGMII_TX_CLK	0x5fe
			IMX95_PAD_ENET2_RX_CTL__NETCMIX_TOP_ETH1_RGMII_RX_CTL	0x57e
			IMX95_PAD_ENET2_RXC__NETCMIX_TOP_ETH1_RGMII_RX_CLK	0x5fe
			IMX95_PAD_ENET2_RD0__NETCMIX_TOP_ETH1_RGMII_RD0		0x57e
			IMX95_PAD_ENET2_RD1__NETCMIX_TOP_ETH1_RGMII_RD1		0x57e
			IMX95_PAD_ENET2_RD2__NETCMIX_TOP_ETH1_RGMII_RD2		0x57e
			IMX95_PAD_ENET2_RD3__NETCMIX_TOP_ETH1_RGMII_RD3		0x57e
		>;
	};

	pinctrl_flexspi1: flexspi1grp {
		fsl,pins = <
			IMX95_PAD_XSPI1_SS0_B__FLEXSPI1_A_SS0_B			0x3fe
			IMX95_PAD_XSPI1_SCLK__FLEXSPI1_A_SCLK			0x3fe
			IMX95_PAD_XSPI1_DATA0__FLEXSPI1_A_DATA_BIT0		0x3fe
			IMX95_PAD_XSPI1_DATA1__FLEXSPI1_A_DATA_BIT1		0x3fe
			IMX95_PAD_XSPI1_DATA2__FLEXSPI1_A_DATA_BIT2		0x3fe
			IMX95_PAD_XSPI1_DATA3__FLEXSPI1_A_DATA_BIT3		0x3fe
		>;
	};

	pinctrl_i2c2_tpm: i2c2tpmgrp {
		fsl,pins = <
			IMX95_PAD_GPIO_IO27__GPIO2_IO_BIT27			0x1fe	//not pull down,not pull up ,Fast slew rate, drive X6
		>;
	};

	pinctrl_i2c3_rtc: i2c3rtcgrp {
		fsl,pins = <
			IMX95_PAD_ENET2_MDC__GPIO4_IO_BIT14			0x1fe	//not pull down,not pull up ,Fast slew rate, drive X6
		>;
	};
	pinctrl_SMB_INT_B_1V8: SMB_INT_B_1V8grp {
		fsl,pins = <
			IMX95_PAD_GPIO_IO18__GPIO2_IO_BIT18			0x1fe	//not pull down,not pull up ,Fast slew rate, drive X6
		>;
	};

	pinctrl_ethphy0: ethphy0grp {
		fsl,pins = <
			IMX95_PAD_GPIO_IO36__GPIO5_IO_BIT16			0x1fe	//not pull down,not pull up ,Fast slew rate, drive X6
		>;
	};
	pinctrl_ethphy1: ethphy1grp {
		fsl,pins = <
			IMX95_PAD_GPIO_IO37__GPIO5_IO_BIT17			0x1fe	//not pull down,not pull up ,Fast slew rate, drive X6
		>;
	};
	pinctrl_i2c8_adl1001: i2c8adl1001grp {
		fsl,pins = <
			IMX95_PAD_GPIO_IO34__GPIO5_IO_BIT14			0x1fe	//not pull down,not pull up ,Fast slew rate, drive X6
		>;
	};

	pinctrl_i2c3_adl1000: i2c8adl1000grp {
		fsl,pins = <
			IMX95_PAD_GPIO_IO33__GPIO5_IO_BIT13			0x1fe	//not pull down,not pull up ,Fast slew rate, drive X6
		>;
	};
	pinctrl_mipi_dsi_csi: mipidsigrp {
		fsl,pins = <
			IMX95_PAD_CCM_CLKO2__GPIO3_IO_BIT27			0x1fe	//not pull down,not pull up ,Fast slew rate, drive X6
		>;
	};

	pinctrl_pcal6416: pcal6416grp {
		fsl,pins = <
			IMX95_PAD_CCM_CLKO3__GPIO4_IO_BIT28			0x1fe	//not pull down,not pull up ,Fast slew rate, drive X6
		>;
	};

	pinctrl_sx1509q: sx1509qgrp {
		fsl,pins = <
			IMX95_PAD_ENET2_MDIO__GPIO4_IO_BIT15			0x1fe	//not pull down,not pull up ,Fast slew rate, drive X6
		>;
	};

	pinctrl_sai1: sai1grp {
		fsl,pins = <
			IMX95_PAD_SAI1_RXD0__AONMIX_TOP_SAI1_RX_DATA_BIT0    0x31e
			IMX95_PAD_SAI1_TXC__AONMIX_TOP_SAI1_TX_BCLK      0x31e
			IMX95_PAD_SAI1_TXFS__AONMIX_TOP_SAI1_TX_SYNC     0x31e
			IMX95_PAD_SAI1_TXD0__AONMIX_TOP_SAI1_TX_DATA_BIT0    0x31e
		>;
	};

	pinctrl_sai3: sai3grp {
		fsl,pins = <
			IMX95_PAD_GPIO_IO17__SAI3_MCLK				0x31e
			IMX95_PAD_GPIO_IO16__SAI3_TX_BCLK			0x31e
			IMX95_PAD_GPIO_IO26__SAI3_TX_SYNC			0x31e
			IMX95_PAD_GPIO_IO20__SAI3_RX_DATA_BIT0			0x31e
			IMX95_PAD_GPIO_IO21__SAI3_TX_DATA_BIT0			0x31e
		>;
	};

	pinctrl_usdhc1: usdhc1grp {
		fsl,pins = <
			IMX95_PAD_SD1_CLK__USDHC1_CLK				0x158e
			IMX95_PAD_SD1_CMD__USDHC1_CMD				0x138e
			IMX95_PAD_SD1_DATA0__USDHC1_DATA0			0x138e
			IMX95_PAD_SD1_DATA1__USDHC1_DATA1			0x138e
			IMX95_PAD_SD1_DATA2__USDHC1_DATA2			0x138e
			IMX95_PAD_SD1_DATA3__USDHC1_DATA3			0x138e
			IMX95_PAD_SD1_DATA4__USDHC1_DATA4			0x138e
			IMX95_PAD_SD1_DATA5__USDHC1_DATA5			0x138e
			IMX95_PAD_SD1_DATA6__USDHC1_DATA6			0x138e
			IMX95_PAD_SD1_DATA7__USDHC1_DATA7			0x138e
			IMX95_PAD_SD1_STROBE__USDHC1_STROBE			0x158e
		>;
	};

	pinctrl_usdhc1_100mhz: usdhc1-100mhzgrp {
		fsl,pins = <
			IMX95_PAD_SD1_CLK__USDHC1_CLK				0x158e
			IMX95_PAD_SD1_CMD__USDHC1_CMD				0x138e
			IMX95_PAD_SD1_DATA0__USDHC1_DATA0			0x138e
			IMX95_PAD_SD1_DATA1__USDHC1_DATA1			0x138e
			IMX95_PAD_SD1_DATA2__USDHC1_DATA2			0x138e
			IMX95_PAD_SD1_DATA3__USDHC1_DATA3			0x138e
			IMX95_PAD_SD1_DATA4__USDHC1_DATA4			0x138e
			IMX95_PAD_SD1_DATA5__USDHC1_DATA5			0x138e
			IMX95_PAD_SD1_DATA6__USDHC1_DATA6			0x138e
			IMX95_PAD_SD1_DATA7__USDHC1_DATA7			0x138e
			IMX95_PAD_SD1_STROBE__USDHC1_STROBE			0x158e
		>;
	};

	pinctrl_usdhc1_200mhz: usdhc1-200mhzgrp {
		fsl,pins = <
			IMX95_PAD_SD1_CLK__USDHC1_CLK				0x15fe
			IMX95_PAD_SD1_CMD__USDHC1_CMD				0x13fe
			IMX95_PAD_SD1_DATA0__USDHC1_DATA0			0x13fe
			IMX95_PAD_SD1_DATA1__USDHC1_DATA1			0x13fe
			IMX95_PAD_SD1_DATA2__USDHC1_DATA2			0x13fe
			IMX95_PAD_SD1_DATA3__USDHC1_DATA3			0x13fe
			IMX95_PAD_SD1_DATA4__USDHC1_DATA4			0x13fe
			IMX95_PAD_SD1_DATA5__USDHC1_DATA5			0x13fe
			IMX95_PAD_SD1_DATA6__USDHC1_DATA6			0x13fe
			IMX95_PAD_SD1_DATA7__USDHC1_DATA7			0x13fe
			IMX95_PAD_SD1_STROBE__USDHC1_STROBE			0x15fe
		>;
	};

	pinctrl_reg_usdhc2_vmmc: regusdhc2vmmcgrp {
		fsl,pins = <
			IMX95_PAD_SD2_RESET_B__GPIO3_IO_BIT7			0x1fe	//not pull down,not pull up ,Fast slew rate, drive X6
		>;
	};

	pinctrl_leds: ledsgrp {
		fsl,pins = <
			IMX95_PAD_XSPI1_DATA7__GPIO5_IO_BIT7			0x1fe	//not pull down,not pull up ,Fast slew rate, drive X6
		>;
	};

	pinctrl_usdhc2_gpio: usdhc2gpiogrp {
		fsl,pins = <
			IMX95_PAD_SD2_CD_B__GPIO3_IO_BIT0			0x1fe	//not pull down,not pull up ,Fast slew rate, drive X6
			IMX95_PAD_XSPI1_DQS__GPIO5_IO_BIT8			0x1fe	//not pull down,not pull up ,Fast slew rate, drive X6
		>;
	};

	pinctrl_usdhc2: usdhc2grp {
		fsl,pins = <
			IMX95_PAD_SD2_CLK__USDHC2_CLK				0x158e
			IMX95_PAD_SD2_CMD__USDHC2_CMD				0x138e
			IMX95_PAD_SD2_DATA0__USDHC2_DATA0			0x138e
			IMX95_PAD_SD2_DATA1__USDHC2_DATA1			0x138e
			IMX95_PAD_SD2_DATA2__USDHC2_DATA2			0x138e
			IMX95_PAD_SD2_DATA3__USDHC2_DATA3			0x138e
			IMX95_PAD_SD2_VSELECT__USDHC2_VSELECT			0x51e
		>;
	};

	pinctrl_usdhc3: usdhc3grp {
		fsl,pins = <
			IMX95_PAD_SD3_CLK__USDHC3_CLK				0x158e
			IMX95_PAD_SD3_CMD__USDHC3_CMD				0x138e
			IMX95_PAD_SD3_DATA0__USDHC3_DATA0			0x138e
			IMX95_PAD_SD3_DATA1__USDHC3_DATA1			0x138e
			IMX95_PAD_SD3_DATA2__USDHC3_DATA2			0x138e
			IMX95_PAD_SD3_DATA3__USDHC3_DATA3			0x138e
		>;
	};

	pinctrl_usdhc3_200mhz: usdhc3-200mhzgrp {
		fsl,pins = <
			IMX95_PAD_SD3_CLK__USDHC3_CLK				0x15fe
			IMX95_PAD_SD3_CMD__USDHC3_CMD				0x13fe
			IMX95_PAD_SD3_DATA0__USDHC3_DATA0			0x13fe
			IMX95_PAD_SD3_DATA1__USDHC3_DATA1			0x13fe
			IMX95_PAD_SD3_DATA2__USDHC3_DATA2			0x13fe
			IMX95_PAD_SD3_DATA3__USDHC3_DATA3			0x13fe
		>;
	};

	pinctrl_usdhc2_100mhz: usdhc2-100mhzgrp {
		fsl,pins = <
			IMX95_PAD_SD2_CLK__USDHC2_CLK				0x158e
			IMX95_PAD_SD2_CMD__USDHC2_CMD				0x138e
			IMX95_PAD_SD2_DATA0__USDHC2_DATA0			0x138e
			IMX95_PAD_SD2_DATA1__USDHC2_DATA1			0x138e
			IMX95_PAD_SD2_DATA2__USDHC2_DATA2			0x138e
			IMX95_PAD_SD2_DATA3__USDHC2_DATA3			0x138e
			IMX95_PAD_SD2_VSELECT__USDHC2_VSELECT			0x51e
		>;
	};

	pinctrl_usdhc2_200mhz: usdhc2-200mhzgrp {
		fsl,pins = <
			IMX95_PAD_SD2_CLK__USDHC2_CLK				0x15fe
			IMX95_PAD_SD2_CMD__USDHC2_CMD				0x13fe
			IMX95_PAD_SD2_DATA0__USDHC2_DATA0			0x13fe
			IMX95_PAD_SD2_DATA1__USDHC2_DATA1			0x13fe
			IMX95_PAD_SD2_DATA2__USDHC2_DATA2			0x13fe
			IMX95_PAD_SD2_DATA3__USDHC2_DATA3			0x13fe
			IMX95_PAD_SD2_VSELECT__USDHC2_VSELECT			0x51e
		>;
	};
};

&vpuctrl {
	boot = <&vpu_boot>;
	sram = <&sram1>;
};

&wdog3 {
	status = "okay";
};
/* SMARC PCIE_A*/
&pcie0 {
	pinctrl-0 = <&pinctrl_pcie0>;
	pinctrl-names = "default";
	fsl,refclk-pad-mode = <IMX8_PCIE_REFCLK_PAD_OUTPUT>;
	reset-gpio = <&i2c2_gpio_expander_71 6 GPIO_ACTIVE_LOW>; //PCIEA_RST#_3V
	vpcie-supply = <&reg_pcie0>;
	status = "okay";
};
/* U1900 AW-CM276NF */
&pcie1 {
	pinctrl-0 = <&pinctrl_pcie1>;
	pinctrl-names = "default";
	fsl,refclk-pad-mode = <IMX8_PCIE_REFCLK_PAD_OUTPUT>;
	reset-gpio = <&i2c2_gpio_expander_71 7 GPIO_ACTIVE_LOW>; //PCIEB_RST#_3V
	status = "okay";
};

&pcie1_ep {
       pinctrl-0 = <&pinctrl_pcie1>;
       pinctrl-names = "default";
       fsl,refclk-pad-mode = <IMX8_PCIE_REFCLK_PAD_OUTPUT>;
       //vpcie-supply = <&reg_slot_pwr>;
       status = "disabled";
};


/* U1500 LT9611_LONTIUM */
&sai1 {
	#sound-dai-cells = <0>;
	pinctrl-names = "default";
	pinctrl-0 = <&pinctrl_sai1>;
	assigned-clocks = <&scmi_clk IMX95_CLK_AUDIOPLL1_VCO>,
			  <&scmi_clk IMX95_CLK_AUDIOPLL2_VCO>,
			  <&scmi_clk IMX95_CLK_AUDIOPLL1>,
			  <&scmi_clk IMX95_CLK_AUDIOPLL2>,
			  <&scmi_clk IMX95_CLK_SAI1>;
	assigned-clock-parents = <0>, <0>, <0>, <0>,
				 <&scmi_clk IMX95_CLK_AUDIOPLL1>;
	assigned-clock-rates = <3932160000>,
			       <3612672000>, <393216000>,
			       <361267200>, <12288000>;
	fsl,sai-mclk-direction-output;
	status = "okay";
};

&sai3 {
	#sound-dai-cells = <0>;
	pinctrl-names = "default";
	pinctrl-0 = <&pinctrl_sai3>;
	assigned-clocks = <&scmi_clk IMX95_CLK_AUDIOPLL1_VCO>,
			  <&scmi_clk IMX95_CLK_AUDIOPLL2_VCO>,
			  <&scmi_clk IMX95_CLK_AUDIOPLL1>,
			  <&scmi_clk IMX95_CLK_AUDIOPLL2>,
			  <&scmi_clk IMX95_CLK_SAI3>;
	assigned-clock-parents = <0>, <0>, <0>, <0>,
				 <&scmi_clk IMX95_CLK_AUDIOPLL1>;
	assigned-clock-rates = <3932160000>,
			       <3612672000>, <393216000>,
			       <361267200>, <12288000>;
	fsl,sai-mclk-direction-output;
	status = "okay";
};


